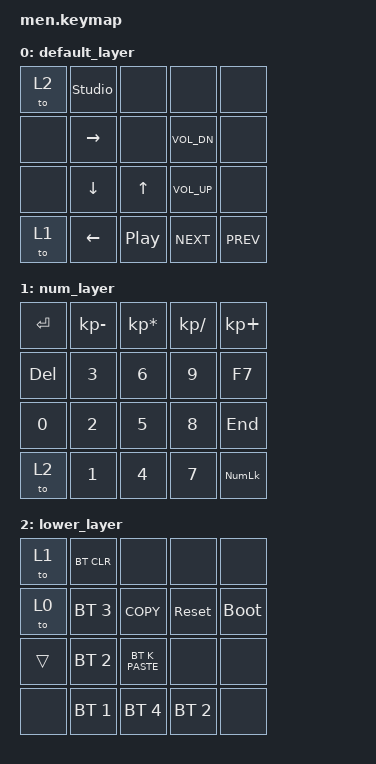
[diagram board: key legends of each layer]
/*
 * Copyright (c) 2020 The ZMK Contributors
 *
 * SPDX-License-Identifier: MIT
 */
 
#include <behaviors.dtsi>
#include <dt-bindings/zmk/keys.h>
#include <dt-bindings/zmk/bt.h>
/ {
    keymap {
        compatible = "zmk,keymap";

        default_layer {

            bindings = <
	&to 2      &studio_unlock     &none        &none  &none
	&none  &kp RIGHT  &none &kp C_VOL_DN  &none
	&none  &kp DOWN &kp UP   &kp C_VOL_UP &none
    &to 1 &kp LEFT   &kp C_PP &kp C_NEXT &kp C_PREV
            >;

        };

        num_layer {
            bindings = <
	&kp ENTER &kp KP_MINUS &kp KP_MULTIPLY &kp KP_DIVIDE &kp KP_PLUS
	&kp DEL     &kp N3 &kp N6 &kp N9 &kp F7
	&kp N0    &kp N2 &kp N5 &kp N8 &kp END
    &to 2    &kp N1 &kp N4 &kp N7 &kp KP_NUM
            >;
        };

        lower_layer {
            bindings = <
    &to 1     &bt BT_CLR   &none        &none      &none
	&to 0 	   &bt BT_SEL 3 &kp K_COPY   &sys_reset &bootloader     
    &trans     &bt BT_SEL 2 &bt K_PASTE  &none      &none
    &none      &bt BT_SEL 1 &bt BT_SEL 4 &bt BT_SEL 2 &none
            >;
        };

        
    };
};
